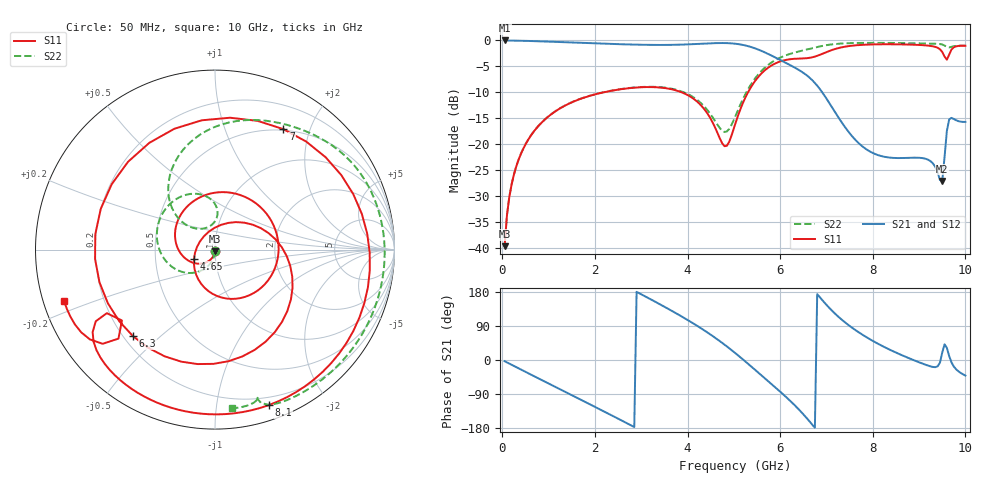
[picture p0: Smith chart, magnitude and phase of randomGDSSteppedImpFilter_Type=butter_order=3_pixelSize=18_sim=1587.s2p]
! freq	dB(S11)	phase(S11)	dB(S12)	phase(S12)
!  dB(S21)	phase(S21)	dB(S22)	phase(S22)
!S-par simulation data
#  GHz  S  DB  R 50
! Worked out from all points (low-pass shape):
!   200 points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, 50 MHz to 10 GHz, reference 50 ohm
!   highest |S21| = -0.01 dB at 50 MHz (marker M1); lowest = -27.1 dB at 9.5 GHz (marker M2)
!   |S21| within 3 dB of the highest: start of sweep to 5.833 GHz
!   lowest |S11| = -39.7 dB at 50 MHz (marker M3), VSWR 1.02, Z = 49.9 - j1.03 ohm
!   |S11| at or under -10 dB: start of sweep to 2.195 GHz; 3.87 GHz to 5.307 GHz (1.438 GHz wide, 31.3 % of centre)
!   |S22| runs from -39.7 to -0.5 dB; largest |S21 - S12| = 0
!   S11 on the Smith chart (normalised r, x): 50 MHz: 1.00, -0.02; 4.65 GHz: 0.79, -0.08; 6.3 GHz: 0.24, -0.41; 7 GHz: 0.49, +1.61; 8.1 GHz: 0.13, -1.40; 10 GHz: 0.06, -0.17
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0.05  -39.70 -92.6  -0.01 -3.2  -0.01 -3.2  -39.67 -90.8
0.2  -27.83 -105.6  -0.03 -12.6  -0.03 -12.6  -27.80 -99.0
0.5  -20.08 -130.0  -0.09 -31.2  -0.09 -31.2  -20.05 -113.3
1.15  -13.66 178.0  -0.28 -71.3  -0.28 -71.3  -13.63 -142.0
1.75  -11.08 128.7  -0.49 -108.2  -0.49 -108.2  -11.06 -166.5
2.6  -9.37 56.4  -0.75 -161.1  -0.75 -161.1  -9.33 160.4
3.4  -9.08 -12.6  -0.87 147.3  -0.87 147.3  -9.01 127.2
4.1  -11.07 -77.0  -0.73 98.4  -0.73 98.4  -10.82 96.2
4.65  -17.92 -156.9  -0.51 54.0  -0.51 54.0  -16.30 91.3
5.05  -15.58 63.5  -0.66 16.4  -0.66 16.4  -14.27 138.2
5.7  -5.54 -40.2  -2.43 -51.5  -2.43 -51.5  -5.02 111.2
6.05  -3.92 -90.8  -3.99 -89.0  -3.99 -89.0  -3.13 87.1
6.3  -3.55 -133.4  -5.17 -117.6  -5.17 -117.6  -2.37 71.5
6.5  -3.48 -175.5  -6.25 -143.2  -6.25 -143.2  -1.92 60.2
6.7  -3.24 134.6  -7.74 -171.5  -7.74 -171.5  -1.49 49.6
7  -2.25 60.4  -11.22 145.5  -11.22 145.5  -0.91 33.4
7.4  -1.21 -7.6  -16.72 99.4  -16.72 99.4  -0.56 12.6
8.1  -0.75 -70.9  -22.09 43.7  -22.09 43.7  -0.47 -18.4
8.35  -0.74 -86.4  -22.59 28.2  -22.59 28.2  -0.48 -28.2
9.5  -2.21 -149.0  -27.13 19.6  -27.13 19.6  -0.79 -71.1
9.65  -2.71 -137.3  -15.24 10.4  -15.24 10.4  -1.35 -73.7
10  -1.03 -161.1  -15.72 -41.1  -15.72 -41.1  -1.01 -84.1
